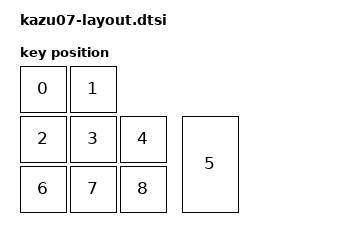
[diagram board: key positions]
/*
 * Copyright (c) 2024 The ZMK Contributors
 *
 * SPDX-License-Identifier: MIT
 */

#include <physical_layouts.dtsi>

/ {
    chosen {
        zmk,physical-layout = &all_1u_layout;
    };

    all_1u_layout: keymap_layout_0 {
        compatible = "zmk,physical-layout";
        display-name = "Default";

        transform = <&all_1u_transform>;

        keys  //                     w   h    x    y     rot   rx   ry
            = <&key_physical_attrs 100 100  100    0       0    0    0>
            , <&key_physical_attrs 100 100  200    0       0    0    0>
            , <&key_physical_attrs 100 100  100  100       0    0    0>
            , <&key_physical_attrs 100 100  200  100       0    0    0>
            , <&key_physical_attrs 100 100  300  100       0    0    0>
            , <&key_physical_attrs 120 200  425  100       0    0    0>
            , <&key_physical_attrs 100 100  100  200       0    0    0>
            , <&key_physical_attrs 100 100  200  200       0    0    0>
            , <&key_physical_attrs 100 100  300  200       0    0    0>
            ;

    };

    position_map {
        compatible = "zmk,physical-layout-position-map";
        all_1u_map {
            physical-layout = <&all_1u_layout>;
            positions
                = <0    1>
                , <2    3   4   5>
                , <6    7   8>
                ;
        };
    };
};
